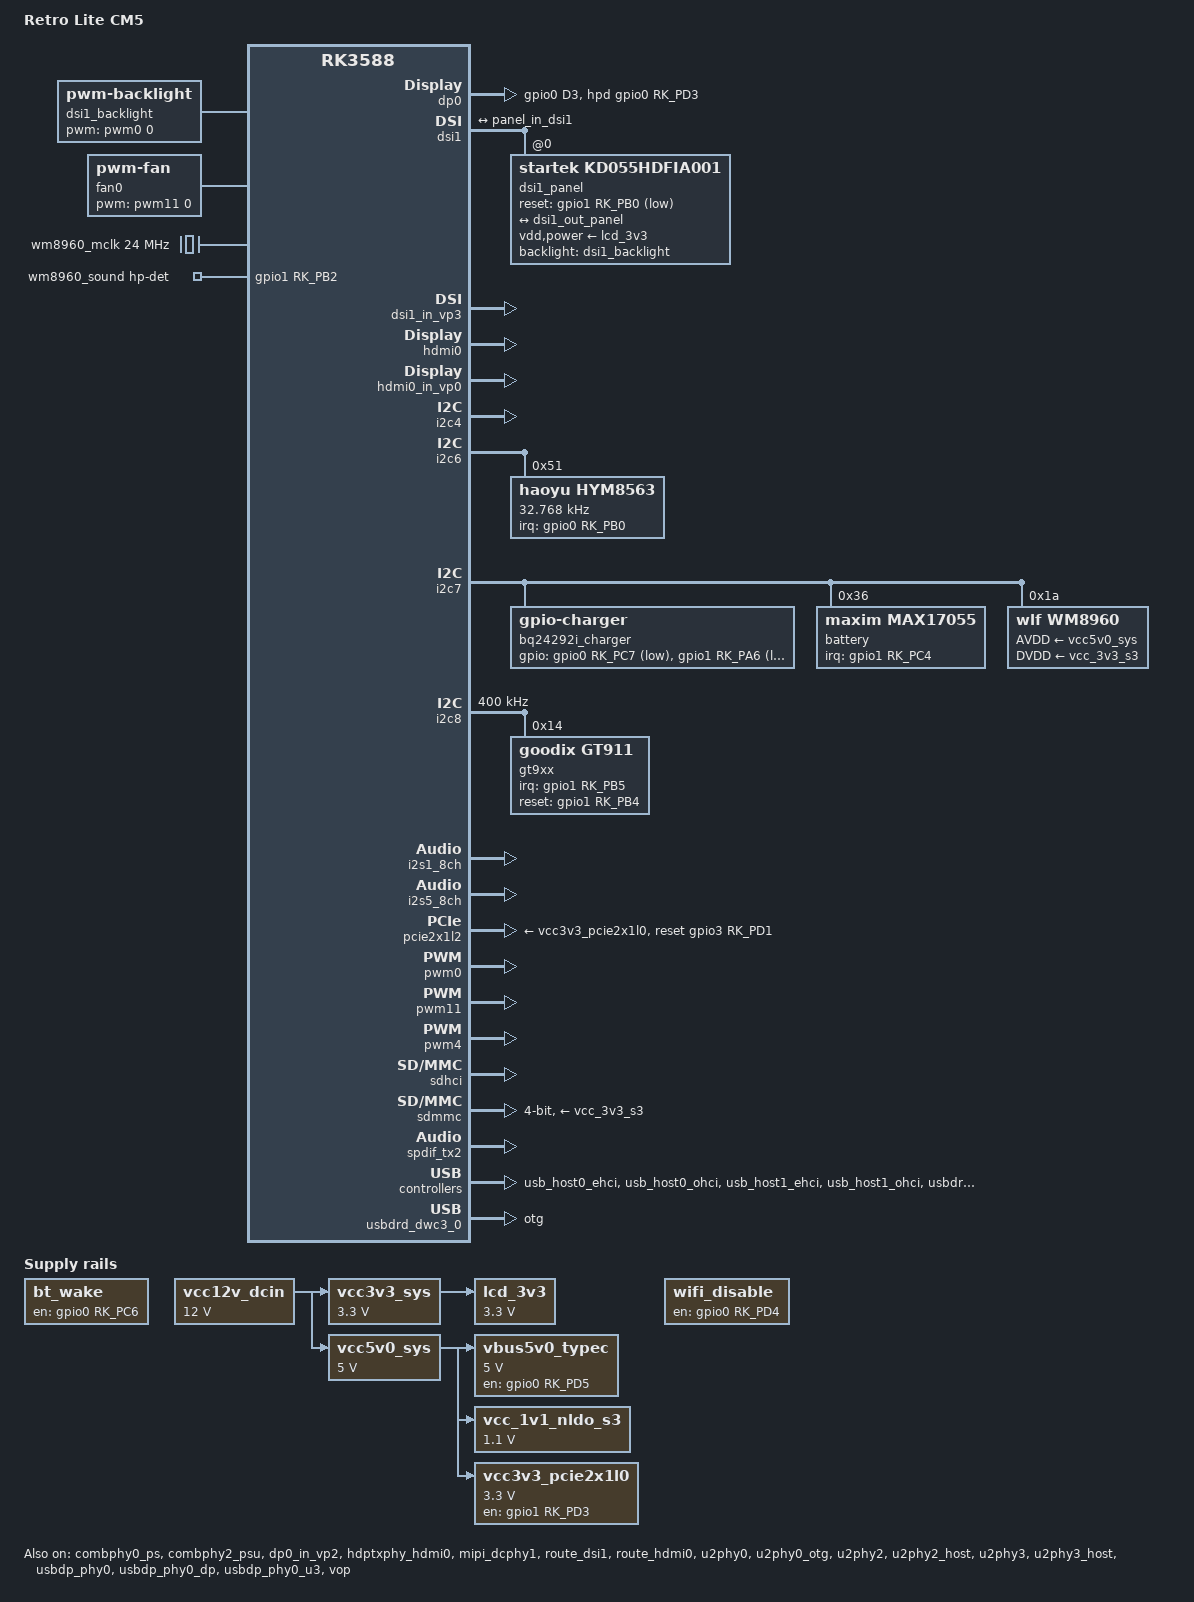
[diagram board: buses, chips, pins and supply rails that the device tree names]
// SPDX-License-Identifier: (GPL-2.0+ OR MIT)
/*
 * Copyright (c) 2024 StonedEdge and GinKage
 *
 */

/dts-v1/;

#include "rk3588s-radxa-cm5.dtsi"
#include <dt-bindings/interrupt-controller/irq.h>
#include <dt-bindings/gpio/gpio.h>
#include <dt-bindings/pinctrl/rockchip.h>

/ {
	model = "Retro Lite CM5";
	compatible = "retro-lite,cm5", "radxa,cm5", "rockchip,rk3588";

	/delete-node/ chosen;

	bt_wake: bt-wake-gpio-regulator {
		compatible = "regulator-fixed";
		regulator-name = "bt_wake";
		enable-active-high;
		gpio = <&gpio0 RK_PC6 GPIO_ACTIVE_HIGH>;
		regulator-boot-on;
		regulator-always-on;
	};

	dp0_sound: dp0-sound {
		status = "okay";
		compatible = "rockchip,hdmi";
		rockchip,card-name= "rockchip-hdmi1";
		rockchip,mclk-fs = <512>;
		rockchip,cpu = <&spdif_tx2>;
		rockchip,codec = <&dp0 1>;
		rockchip,jack-det;
	};

	dsi1_backlight: dsi1-backlight {
		status = "okay";
		compatible = "pwm-backlight";
		pwms = <&pwm0 0 25000 PWM_POLARITY_INVERTED>;
		brightness-levels = <
			0  20  20  21  21  22  22  23
			23  24  24  25  25  26  26  27
			27  28  28  29  29  30  30  31
			31  32  32  33  33  34  34  35
			35  36  36  37  37  38  38  39
			40  41  42  43  44  45  46  47
			48  49  50  51  52  53  54  55
			56  57  58  59  60  61  62  63
			64  65  66  67  68  69  70  71
			72  73  74  75  76  77  78  79
			80  81  82  83  84  85  86  87
			88  89  90  91  92  93  94  95
			96  97  98  99 100 101 102 103
			104 105 106 107 108 109 110 111
			112 113 114 115 116 117 118 119
			120 121 122 123 124 125 126 127
			128 129 130 131 132 133 134 135
			136 137 138 139 140 141 142 143
			144 145 146 147 148 149 150 151
			152 153 154 155 156 157 158 159
			160 161 162 163 164 165 166 167
			168 169 170 171 172 173 174 175
			176 177 178 179 180 181 182 183
			184 185 186 187 188 189 190 191
			192 193 194 195 196 197 198 199
			200 201 202 203 204 205 206 207
			208 209 210 211 212 213 214 215
			216 217 218 219 220 221 222 223
			224 225 226 227 228 229 230 231
			232 233 234 235 236 237 238 239
			240 241 242 243 244 245 246 247
			248 249 250 251 252 253 254 255
		>;
		default-brightness-level = <200>;
	};

	fan0: pwm-fan {
		compatible = "pwm-fan";
		#cooling-cells = <2>;
		cooling-levels = <100 160 190 200 215 235 255>;
		pwms = <&pwm11 0 10000 0>;
		rockchip,temp-trips = <
			55000	1
			60000	2
			65000	3
			70000	4
			75000	5
			80000	6
		>;
	};

	hdmi0_sound: hdmi0-sound {
		status = "okay";
		compatible = "rockchip,hdmi";
		rockchip,mclk-fs = <128>;
		rockchip,card-name = "rockchip-hdmi0";
		rockchip,cpu = <&i2s5_8ch>;
		rockchip,codec = <&hdmi0>;
		rockchip,jack-det;
	};

	lcd_3v3: lcd-3v3 {
		compatible = "regulator-fixed";
		regulator-name = "lcd_3v3";
		regulator-always-on;
		regulator-boot-on;
		regulator-min-microvolt = <3300000>;
		regulator-max-microvolt = <3300000>;
		vin-supply = <&vcc3v3_sys>;
	};

	vbus5v0_typec: vbus5v0-typec {
		compatible = "regulator-fixed";
		regulator-name = "vbus5v0_typec";
		gpio = <&gpio0 RK_PD5 GPIO_ACTIVE_HIGH>;
		pinctrl-names = "default";
		pinctrl-0 = <&vbus5v0_typec_en>;
		enable-active-high;
		regulator-min-microvolt = <5000000>;
		regulator-max-microvolt = <5000000>;
		vin-supply = <&vcc5v0_sys>;
	};

	vcc_1v1_nldo_s3: vcc-1v1-nldo-s3 {
		compatible = "regulator-fixed";
		regulator-name = "vcc_1v1_nldo_s3";
		regulator-always-on;
		regulator-boot-on;
		regulator-min-microvolt = <1100000>;
		regulator-max-microvolt = <1100000>;
		vin-supply = <&vcc5v0_sys>;
	};

	vcc12v_dcin: vcc12v-dcin {
		compatible = "regulator-fixed";
		regulator-name = "vcc12v_dcin";
		regulator-always-on;
		regulator-boot-on;
		regulator-min-microvolt = <12000000>;
		regulator-max-microvolt = <12000000>;
	};

	vcc3v3_pcie2x1l0: vcc3v3-pcie2x1l0 {
		compatible = "regulator-fixed";
		regulator-name = "vcc3v3_pcie2x1l0";
		regulator-min-microvolt = <3300000>;
		regulator-max-microvolt = <3300000>;
		enable-active-high;
		regulator-boot-on;
		regulator-always-on;
		gpios = <&gpio1 RK_PD3 GPIO_ACTIVE_HIGH>;
		startup-delay-us = <50000>;
		vin-supply = <&vcc5v0_sys>;
	};

	vcc3v3_sys: vcc3v3-sys {
		compatible = "regulator-fixed";
		regulator-name = "vcc3v3_sys";
		regulator-always-on;
		regulator-boot-on;
		regulator-min-microvolt = <3300000>;
		regulator-max-microvolt = <3300000>;
		vin-supply = <&vcc12v_dcin>;
	};
/*
	vcc5v0_host: vcc5v0-host-regulator {
		compatible = "regulator-fixed";
		regulator-name = "vcc5v0_host";
		regulator-boot-on;
		regulator-always-on;
		regulator-min-microvolt = <5000000>;
		regulator-max-microvolt = <5000000>;
		enable-active-high;
		gpio = <&gpio1 RK_PA0 GPIO_ACTIVE_HIGH>;
		pinctrl-names = "default";
		pinctrl-0 = <&vcc5v0_host_en>;
		vin-supply = <&vcc5v0_sys>;
	};
*/
	vcc5v0_sys: vcc5v0-sys {
		compatible = "regulator-fixed";
		regulator-name = "vcc5v0_sys";
		regulator-always-on;
		regulator-boot-on;
		regulator-min-microvolt = <5000000>;
		regulator-max-microvolt = <5000000>;
		vin-supply = <&vcc12v_dcin>;
	};

	wifi_disable: wifi-diable-gpio-regulator {
		compatible = "regulator-fixed";
		regulator-name = "wifi_disable";
		enable-active-high;
		gpio = <&gpio0 RK_PD4 GPIO_ACTIVE_HIGH>;
		regulator-boot-on;
		regulator-always-on;
	};

	wm8960_mclk: wm8960-mclk {
		compatible = "fixed-clock";
		#clock-cells = <0>;
		clock-frequency = <24000000>;
	};

	wm8960_sound: wm8960-sound {
		status = "okay";
		compatible = "simple-audio-card";
		simple-audio-card,format = "i2s";
		simple-audio-card,name = "wm8960-soundcard";
		simple-audio-card,mclk-fs = <256>;
		simple-audio-card,widgets =
			"Microphone", "Mic Jack",
			"Line", "Line In",
			"Line", "Line Out",
			"Speaker", "Speaker",
			"Headphone", "Headphone Jack";
		simple-audio-card,routing =
			"Headphone Jack", "HP_L",
			"Headphone Jack", "HP_R",
			"Speaker", "SPK_LP",
			"Speaker", "SPK_LN",
			"LINPUT1", "Mic Jack",
			"LINPUT3", "Mic Jack",
			"RINPUT1", "Mic Jack",
			"RINPUT2", "Mic Jack";
		pinctrl-0 = <&hp_det>;
		pinctrl-names = "default";
		hp-det-gpio = <&gpio1 RK_PB2 GPIO_ACTIVE_HIGH>;
		sac_cpu: simple-audio-card,cpu {
			sound-dai = <&i2s1_8ch>;
		};
		sac_codec: simple-audio-card,codec {
			sound-dai = <&wm8960>;
			clocks = <&wm8960_mclk>;
			clock-names = "mclk";
		};
	};
};

&combphy0_ps {
	status = "okay";
};

&combphy2_psu {
	status = "okay";
};

&display_subsystem {
	clocks = <&hdptxphy_hdmi_clk0>;
	clock-names = "hdmi0_phy_pll";
};

&dp0 {
	// force-hpd;
	status = "okay";
	pinctrl-names = "default";
	pinctrl-0 = <&dp0_hpd>;
	hpd-gpios = <&gpio0 RK_PD3 GPIO_ACTIVE_HIGH>;
};

&dp0_in_vp2 {
	status = "okay";
};

&dsi1 {
	status = "okay";
	rockchip,lane-rate = <550>;
	#address-cells = <1>;
	#size-cells = <0>;

	dsi1_panel: panel@0 {
		status = "okay";
		compatible = "startek,kd055hdfia001";
		reg = <0>;
		backlight = <&dsi1_backlight>;

		vdd-supply = <&lcd_3v3>;
		power-supply = <&lcd_3v3>;
		//vccio-supply = <&vcc_1v8_s0>;
		reset-gpio = <&gpio1 RK_PB0 GPIO_ACTIVE_LOW>;
		pinctrl-names = "default";
		pinctrl-0 = <&dsi1_lcd_rst_gpio>;
		//te-gpios = <&gpio1 RK_PA4 GPIO_ACTIVE_HIGH>;

		ports {
			#address-cells = <1>;
			#size-cells = <0>;

			port@0 {
				reg = <0>;
				panel_in_dsi1: endpoint {
					remote-endpoint = <&dsi1_out_panel>;
				};
			};
		};
	};

	ports {
		#address-cells = <1>;
		#size-cells = <0>;

		port@1 {
			reg = <1>;
			dsi1_out_panel: endpoint {
				remote-endpoint = <&panel_in_dsi1>;
			};
		};
	};
};

&dsi1_in_vp2 {
	status = "disabled";
};

&dsi1_in_vp3 {
	status = "okay";
};

&hdmi0 {
	status = "okay";
};

&hdmi0_in_vp0 {
	status = "okay";
};

&hdptxphy_hdmi0 {
	status = "okay";
};

&hdptxphy_hdmi_clk0 {
	status = "okay";
};

&i2c4 {
	status = "okay";
	pinctrl-names = "default";
	pinctrl-0 = <&i2c4m3_xfer>;
};

&i2c6 {
	status = "okay";
	pinctrl-names = "default";
	pinctrl-0 = <&i2c6m3_xfer>;

	hym8563: hym8563@51 {
		compatible = "haoyu,hym8563";
		reg = <0x51>;
		#clock-cells = <0>;
		clock-frequency = <32768>;
		clock-output-names = "hym8563";
		pinctrl-names = "default";
		pinctrl-0 = <&rtc_int>;
		interrupt-parent = <&gpio0>;
		interrupts = <RK_PB0 IRQ_TYPE_LEVEL_LOW>;
	};
};

&i2c7 {
	status = "okay";
	pinctrl-names = "default";
	pinctrl-0 = <&i2c7m2_xfer>;
	#address-cells = <1>;
	#size-cells = <0>;

	bq24292i_charger: charger {
		compatible = "gpio-charger";
		gpios = <&gpio0 RK_PC7 GPIO_ACTIVE_LOW>
		charge-status-gpios = <&gpio1 RK_PA6 GPIO_ACTIVE_LOW>
		pinctrl-names = "default";
		pinctrl-0 = <&bq24292i_gpio>;
	};

	battery: battery@36 {
		compatible = "maxim,max17055";
		reg = <0x36>;
		interrupt-parent = <&gpio1>;
		interrupts = <RK_PC4 IRQ_TYPE_LEVEL_LOW>;
		pinctrl-names = "default";
		pinctrl-0 = <&fuel_gauge>;
		power-supplies = <&bq24292i_charger>;
		maxim,rsns-microohm = <10>;
		maxim,over-heat-temp = <800>;
		maxim,dead-volt = <3100>;
		maxim,over-volt = <4300>;
	};

	wm8960: wm8960@1a {
		compatible = "wlf,wm8960";
		reg = <0x1a>;
		#sound-dai-cells = <0>;
		AVDD-supply = <&vcc5v0_sys>;
		DVDD-supply = <&vcc_3v3_s3>;
	};
};

&i2c8 {
	status = "okay";
	pinctrl-names = "default";
	pinctrl-0 = <&i2c8m2_xfer>;
	clock-frequency = <400000>;
	#address-cells = <1>;
	#size-cells = <0>;

	gt9xx: gt9xx@14 {
		status = "okay";
		compatible = "goodix,gt911";
		reg = <0x14>;
		pinctrl-names = "default";
		pinctrl-0 = <&gt9xx_gpio>;
		interrupt-parent = <&gpio1>;
		interrupts = <RK_PB5 IRQ_TYPE_EDGE_FALLING>;
		irq-gpios = <&gpio1 RK_PB5 GPIO_ACTIVE_HIGH>;
		reset-gpios = <&gpio1 RK_PB4 GPIO_ACTIVE_HIGH>;
		//AVDD28-supply = <&lcd_3v3>;
		//VDDIO-supply = <&vcc_1v8_s0>;
		touchscreen-size-x = <720>;
		touchscreen-size-y = <1280>;
	};
};

&i2s1_8ch {
	status = "okay";
	rockchip,playback-channels = <2>;
	rockchip,capture-channels = <2>;
	rockchip,i2s-tx-route = <1 0 2 3>;
	rockchip,i2s-rx-route = <0 1 2 3>;
	#sound-dai-cells = <0>;
	pinctrl-names = "default";
	pinctrl-0 = <&i2s1m0_sclk
			&i2s1m0_lrck
			&i2s1m0_sdi0
			&i2s1m0_sdo1>;
};

&i2s5_8ch {
	status = "okay";
};

&mipi_dcphy1 {
	status = "okay";
};

&pcie2x1l2 {
	reset-gpios = <&gpio3 RK_PD1 GPIO_ACTIVE_HIGH>;
	vpcie3v3-supply = <&vcc3v3_pcie2x1l0>;
	status = "okay";
};

&pinctrl {
	bq24292i {
		bq24292i_gpio: bq24292i-gpio {
			rockchip,pins =
				<0 RK_PC7 RK_FUNC_GPIO &pcfg_pull_up>,
				<1 RK_PA6 RK_FUNC_GPIO &pcfg_pull_up>;
		}
	};

	dp {
		dp0_hpd: dp0-hpd {
			rockchip,pins = <0 RK_PD3 RK_FUNC_GPIO &pcfg_pull_none>;
		};
	};

	dsi1-lcd {
		dsi1_lcd_rst_gpio: dsi1-lcd-rst-gpio {
			rockchip,pins =
				//<1 RK_PA4 RK_FUNC_GPIO &pcfg_pull_up>,
				<1 RK_PB0 RK_FUNC_GPIO &pcfg_pull_up>;
		};
	};

	gauge {
		fuel_gauge: fuel-gauge {
			rockchip,pins = <1 RK_PC4 RK_FUNC_GPIO &pcfg_pull_none>;
		};
	};

	gt9xx {
		gt9xx_gpio: gt9xx-gpio {
			rockchip,pins =
				<1 RK_PB4 RK_FUNC_GPIO &pcfg_pull_up>,
				<1 RK_PB5 RK_FUNC_GPIO &pcfg_pull_none>;
		};
	};

	headphone {
		hp_det: hp-det {
			rockchip,pins = <1 RK_PB2 RK_FUNC_GPIO &pcfg_pull_up>;
		};
	};

	hym8563 {
		rtc_int: rtc-int {
			rockchip,pins = <0 RK_PB0 RK_FUNC_GPIO &pcfg_pull_up>;
		};
	};
/*
	usb {
		vcc5v0_host_en: vcc5v0-host-en {
			rockchip,pins = <1 RK_PA0 RK_FUNC_GPIO &pcfg_pull_none>;
		};
	};
*/
};

&pwm0 {
	status = "okay";
	pinctrl-names = "active";
	pinctrl-0 = <&pwm0m1_pins>;
};

&pwm11 {
	status = "okay";
	pinctrl-0 = <&pwm11m3_pins>;
};

&pwm4 {
	status = "okay";
	pinctrl-0 = <&pwm4m0_pins>;
};

&route_dsi1 {
	status = "okay";
	connect = <&vp3_out_dsi1>;
};

&route_hdmi0 {
	status = "okay";
};

&sdhci {
	status = "okay";
};

&sdmmc {
	max-frequency = <200000000>;
	no-sdio;
	no-mmc;
	bus-width = <4>;
	cap-mmc-highspeed;
	cap-sd-highspeed;
	disable-wp;
	sd-uhs-sdr104;
	vmmc-supply = <&vcc_3v3_s3>;
	vqmmc-supply = <&vccio_sd_s0>;
	pinctrl-names = "default";
	pinctrl-0 = <&sdmmc_bus4 &sdmmc_clk &sdmmc_cmd &sdmmc_det>;
	status = "okay";
};

&spdif_tx2 {
	status = "okay";
};

&u2phy0 {
	status = "okay";
};

&u2phy0_otg {
	rockchip,typec-vbus-det;
	status = "okay";
};

&u2phy2 {
	status = "okay";
};

&u2phy2_host {
	status = "okay";
};

&u2phy3 {
	status = "okay";
};

&u2phy3_host {
	status = "okay";
};

&usb_host0_ehci {
	status = "okay";
};

&usb_host0_ohci {
	status = "okay";
};

&usb_host1_ehci {
	status = "okay";
};

&usb_host1_ohci {
	status = "okay";
};

&usbdp_phy0 {
	status = "okay";
	rockchip,dp-lane-mux = <3 2 0 1>;
};

&usbdp_phy0_dp {
	status = "okay";
};

&usbdp_phy0_u3 {
	status = "okay";
};

&usbdrd3_0 {
	status = "okay";
};

&usbdrd_dwc3_0 {
	dr_mode = "otg";
	status = "okay";
};

&usbhost3_0 {
	status = "okay";
};

&usbhost_dwc3_0 {
	status = "okay";
};

&vop {
	status = "okay";
};

&vop_mmu {
	status = "okay";
};

&vp0 {
	rockchip,plane-mask = <(1 << ROCKCHIP_VOP2_CLUSTER0 | 1 << ROCKCHIP_VOP2_ESMART0)>;
	rockchip,primary-plane = <ROCKCHIP_VOP2_CLUSTER0>;
	cursor-win-id = <ROCKCHIP_VOP2_ESMART0>;
};

&vp1 {
	rockchip,plane-mask = <(1 << ROCKCHIP_VOP2_CLUSTER1 | 1 << ROCKCHIP_VOP2_ESMART1)>;
	rockchip,primary-plane = <ROCKCHIP_VOP2_CLUSTER1>;
	cursor-win-id = <ROCKCHIP_VOP2_ESMART1>;
};

&vp2 {
	rockchip,plane-mask = <(1 << ROCKCHIP_VOP2_CLUSTER2 | 1 << ROCKCHIP_VOP2_ESMART2)>;
	rockchip,primary-plane = <ROCKCHIP_VOP2_CLUSTER2>;
	cursor-win-id = <ROCKCHIP_VOP2_ESMART2>;
};

&vp3 {
	rockchip,plane-mask = <(1 << ROCKCHIP_VOP2_CLUSTER3 | 1 << ROCKCHIP_VOP2_ESMART3)>;
	rockchip,primary-plane = <ROCKCHIP_VOP2_CLUSTER3>;
	cursor-win-id = <ROCKCHIP_VOP2_ESMART3>;
};

